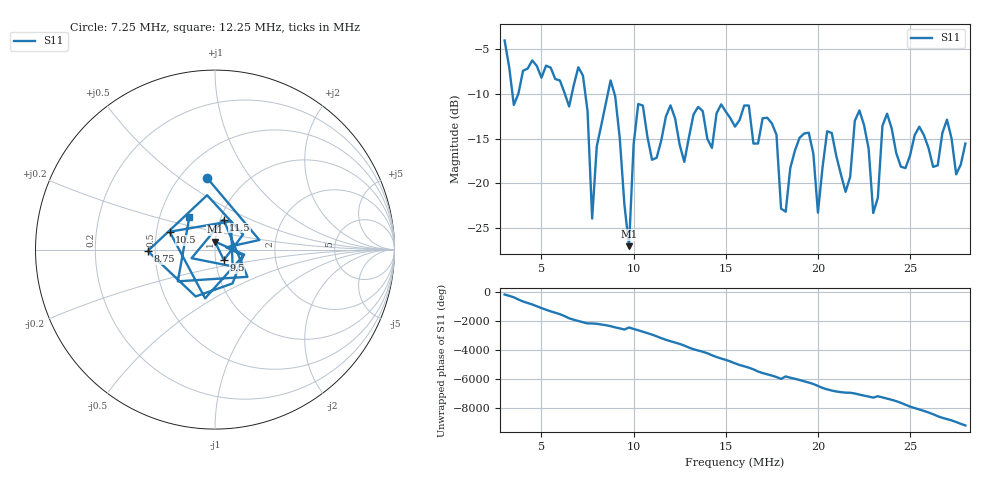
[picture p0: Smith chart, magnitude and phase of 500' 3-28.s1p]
# HZ S RI R 50
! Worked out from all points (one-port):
!   101 points, 3 MHz to 28 MHz, reference 50 ohm
!   lowest |S11| = -27.0 dB at 9.75 MHz (marker M1), VSWR 1.09, Z = 49.7 + j4.46 ohm
!   |S11| at or under -10 dB: 3.425 MHz to 3.746 MHz (321.2 kHz wide, 8.96 % of centre); 7.378 MHz to 8.6 MHz (1.222 MHz wide, 15.3 % of centre); 8.96 MHz to end of sweep (the widest 3 of 4)
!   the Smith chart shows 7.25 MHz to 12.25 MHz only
!   S11 on the Smith chart (normalised r, x): 7.25 MHz: 0.68, +0.64; 8.75 MHz: 0.45, -0.01; 9.5 MHz: 1.10, -0.13; 10.5 MHz: 0.59, +0.13; 11.5 MHz: 1.04, +0.36; 12.25 MHz: 0.71, +0.27
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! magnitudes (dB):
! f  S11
! 3 MHz  -4.1
! 3.5 MHz  -11.3
! 4.5 MHz  -6.3
! 6.25 MHz  -9.9
! 7.25 MHz  -8.0
! 7.75 MHz  -23.9
! 8.75 MHz  -8.5
! 9.25 MHz  -15.0
! 9.5 MHz  -22.4
! 9.75 MHz  -27.0
! 10 MHz  -15.6
! 10.5 MHz  -11.3
! 11.5 MHz  -15.2
! 12.25 MHz  -12.8
! 12.5 MHz  -15.7
! 15.5 MHz  -13.7
! 17.5 MHz  -13.3
! 18.25 MHz  -23.1
! 18.75 MHz  -16.4
! 19.5 MHz  -14.3
! 20 MHz  -23.3
! 20.5 MHz  -14.2
! 21.75 MHz  -19.2
! 22.25 MHz  -11.9
! 23 MHz  -23.3
! 23.75 MHz  -12.2
! 25 MHz  -16.9
! 28 MHz  -15.6
